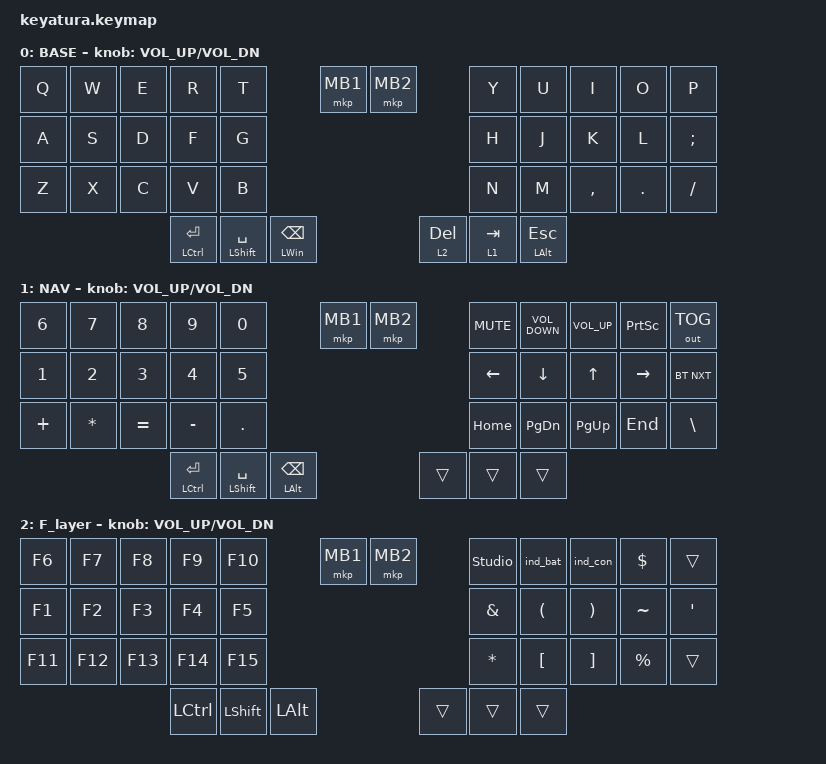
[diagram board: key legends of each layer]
#include <behaviors.dtsi>
#include <dt-bindings/zmk/bt.h>
#include <dt-bindings/zmk/keys.h>
#include <dt-bindings/zmk/outputs.h>
#include <dt-bindings/zmk/pointing.h>

#include <behaviors/rgbled_widget.dtsi>

#define U_TAPPING_TERM 220
#define U_QUICK_TAP 200

/ {
    combos {
        compatible = "zmk,combos";

        ParaLeft {
            bindings = <&kp LEFT_PARENTHESIS>;
            key-positions = <6 7>;
        };

        ParaRight {
            bindings = <&kp RIGHT_PARENTHESIS>;
            key-positions = <2 3>;
        };

        BrakLeft {
            bindings = <&kp LEFT_BRACKET>;
            key-positions = <26 27>;
        };

        BrakRight {
            bindings = <&kp RIGHT_BRACKET>;
            key-positions = <22 23>;
        };

        CapsWord {
            bindings = <&caps_word>;
            key-positions = <11 12>;
        };

        quote {
            bindings = <&kp SINGLE_QUOTE>;
            key-positions = <17 18>;
        };

        alt {
            bindings = <&kp LEFT_ALT>;
            key-positions = <12 13>;
        };
        
        lang {
            bindings = <&kp LS(LALT)>;
            key-positions = <7 8>;
        };

    };

    behaviors {
        u_mt: u_mt {
            compatible = "zmk,behavior-hold-tap";
            label = "u_mt";
            #binding-cells = <2>;
            tapping-term-ms = <U_TAPPING_TERM>;
            quick-tap-ms = <U_QUICK_TAP>;
            flavor = "tap-preferred";
            bindings = <&kp>, <&kp>;
        };

        u_lt: u_lt {
            compatible = "zmk,behavior-hold-tap";
            label = "u_lt";
            #binding-cells = <2>;
            tapping-term-ms = <U_TAPPING_TERM>;
            quick-tap-ms = <U_QUICK_TAP>;
            flavor = "tap-preferred";
            bindings = <&mo>, <&kp>;
        };
    };

    keymap {
        compatible = "zmk,keymap";

        BASE {
            bindings = <
&kp Q  &kp W              &kp E              &kp R                     &kp T         &kp Y      &kp U                  &kp I      &kp O    &kp P
&kp A  &kp S              &kp D              &kp F                     &kp G         &kp H      &kp J                  &kp K      &kp L    &kp SEMI
&kp Z  &kp X              &kp C              &kp V                     &kp B         &kp N      &kp M                  &kp COMMA  &kp DOT  &kp FSLH
       &u_mt LCTRL ENTER  &u_mt LSHFT SPACE  &u_mt LEFT_WIN BACKSPACE  &lt 2 DELETE  &lt 1 TAB  &u_mt LEFT_ALT ESCAPE
       &mkp MB1  &mkp MB2 
            >;
            sensor-bindings = <&inc_dec_kp C_VOL_UP C_VOL_DN>;
        };

        NAV {
            bindings = <
&kp N6    &kp N7             &kp N8             &kp N9                &kp N0   &kp C_MUTE        &kp C_VOLUME_DOWN  &kp C_VOLUME_UP  &kp PRINTSCREEN  &out OUT_TOG
&kp N1    &kp N2             &kp N3             &kp N4                &kp N5   &kp LEFT_ARROW    &kp DOWN           &kp UP_ARROW     &kp RIGHT        &bt BT_NXT
&kp PLUS  &kp ASTERISK       &kp EQUAL          &kp MINUS             &kp DOT  &kp HOME          &kp PAGE_DOWN      &kp PG_UP        &kp END          &kp BACKSLASH
          &u_mt LCTRL ENTER  &u_mt LSHFT SPACE  &u_mt LALT BACKSPACE  &trans   &trans            &trans
       &mkp MB1  &mkp MB2 
            >;
            sensor-bindings = <&inc_dec_kp C_VOL_UP C_VOL_DN>;
        };

        F_layer {
            bindings = <
&kp F6   &kp F7   &kp F8   &kp F9   &kp F10  &studio_unlock  &ind_bat        &ind_con        &kp DOLLAR   &trans
&kp F1   &kp F2   &kp F3   &kp F4   &kp F5   &kp AMPS        &kp LEFT_PARENTHESIS  &kp RIGHT_PARENTHESIS  &kp TILDE    &kp SINGLE_QUOTE
&kp F11  &kp F12  &kp F13  &kp F14  &kp F15  &kp ASTERISK    &kp LEFT_BRACKET      &kp RIGHT_BRACKET      &kp PERCENT  &trans
         &kp LCTRL  &kp LEFT_SHIFT  &kp LEFT_ALT  &trans   &trans          &trans
       &mkp MB1  &mkp MB2 
            >;
            sensor-bindings = <&inc_dec_kp C_VOL_UP C_VOL_DN>;
        };
    };

    conditional_layers { compatible = "zmk,conditional-layers"; };
};
